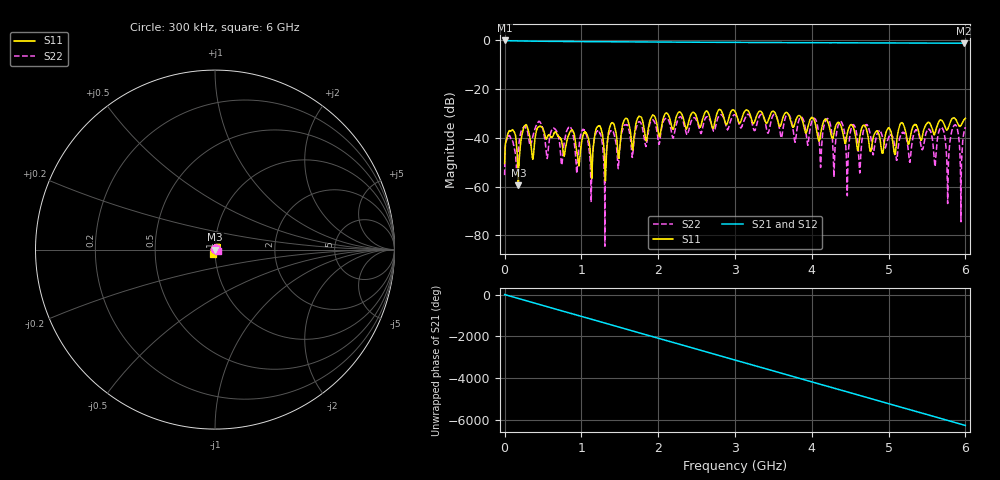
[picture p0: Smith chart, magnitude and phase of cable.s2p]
!  7/30/2020  14:00:46
! Ref Plane: 0.000 mm
# MHZ S MA R  50
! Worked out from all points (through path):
!   10001 points, 300 kHz to 6 GHz, reference 50 ohm
!   highest |S21| = -0.02 dB at 1.5 MHz (marker M1); lowest = -1.1 dB at 5.98 GHz (marker M2)
!   group delay of S21, straight-line fit = 2.9 ns
!   lowest |S11| = -59.5 dB at 179.1 MHz (marker M3), VSWR 1.00, Z = 50.1 + j0.0275 ohm
!   |S11| at or under -10 dB: start of sweep to end of sweep
!   |S22| runs from -84.4 to -30.3 dB; largest |S21 - S12| = 0.01
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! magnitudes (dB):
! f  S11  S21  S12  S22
! 300 kHz  -50.6  0.0  0.0  -55.3
! 1.5 MHz  -48.6  0.0  0.0  -51.3
! 96.9 MHz  -36.8  -0.2  -0.2  -41.2
! 179.1 MHz  -59.5  -0.2  -0.2  -45.0
! 272.1 MHz  -34.7  -0.3  -0.3  -35.7
! 1 GHz  -42.2  -0.5  -0.5  -37.6
! 1.125 GHz  -49.7  -0.5  -0.5  -61.3
! 1.229 GHz  -35.0  -0.5  -0.5  -37.3
! 1.305 GHz  -50.9  -0.5  -0.5  -70.2
! 1.388 GHz  -34.1  -0.6  -0.6  -37.2
! 2.001 GHz  -37.5  -0.7  -0.7  -41.2
! 3 GHz  -29.1  -0.8  -0.8  -30.5
! 4 GHz  -31.6  -0.9  -0.9  -33.2
! 4.291 GHz  -37.7  -0.9  -1.0  -53.8
! 4.383 GHz  -35.4  -1.0  -1.0  -33.4
! 4.463 GHz  -38.0  -1.0  -1.0  -62.0
! 4.538 GHz  -35.5  -1.0  -1.0  -34.6
! 4.624 GHz  -40.0  -1.0  -1.0  -54.0
! 4.706 GHz  -35.9  -1.0  -1.0  -34.7
! 5 GHz  -35.9  -1.0  -1.0  -39.9
! 5.98 GHz  -32.8  -1.1  -1.1  -38.0
! 6 GHz  -32.0  -1.1  -1.1  -35.6
